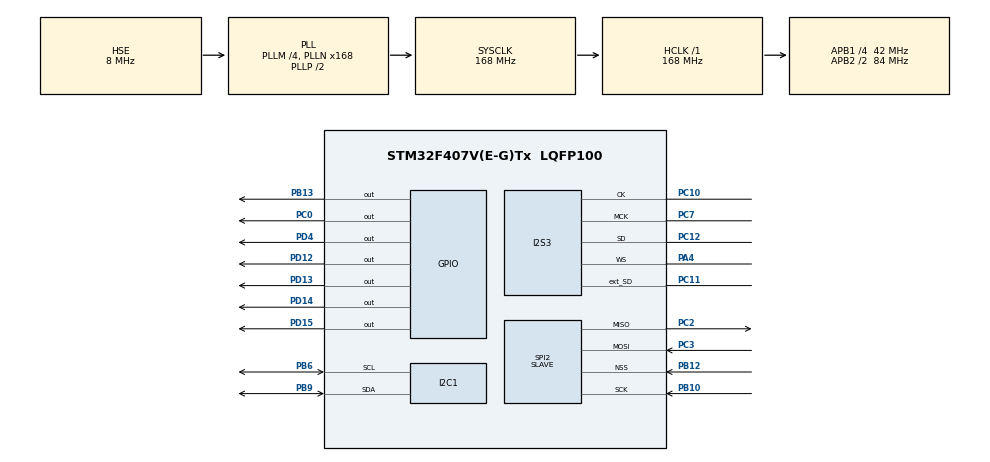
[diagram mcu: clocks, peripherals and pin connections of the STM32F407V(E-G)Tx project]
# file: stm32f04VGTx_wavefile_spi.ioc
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Dma.Request0=SPI3_TX
Dma.SPI3_TX.0.Direction=DMA_MEMORY_TO_PERIPH
Dma.SPI3_TX.0.FIFOMode=DMA_FIFOMODE_ENABLE
Dma.SPI3_TX.0.FIFOThreshold=DMA_FIFO_THRESHOLD_FULL
Dma.SPI3_TX.0.Instance=DMA1_Stream5
Dma.SPI3_TX.0.MemBurst=DMA_MBURST_INC8
Dma.SPI3_TX.0.MemDataAlignment=DMA_MDATAALIGN_BYTE
Dma.SPI3_TX.0.MemInc=DMA_MINC_ENABLE
Dma.SPI3_TX.0.Mode=DMA_NORMAL
Dma.SPI3_TX.0.PeriphBurst=DMA_PBURST_SINGLE
Dma.SPI3_TX.0.PeriphDataAlignment=DMA_PDATAALIGN_HALFWORD
Dma.SPI3_TX.0.PeriphInc=DMA_PINC_DISABLE
Dma.SPI3_TX.0.Priority=DMA_PRIORITY_LOW
FREERTOS.Tasks01=defaultTask,0,128,StartDefaultTask,Default,NULL
I2C1.OwnAddress=0x33
I2S3.AudioFreq=I2S_AUDIOFREQ_48K
I2S3.ErrorAudioFreq=-2.34 %
I2S3.FullDuplexMode=I2S_FULLDUPLEXMODE_ENABLE
I2S3.Instance=SPI$Index
I2S3.RealAudioFreq=46.875 KHz
I2S3.VirtualMode=I2S_MODE_MASTER
Mcu.Family=STM32F4
Mcu.Name=STM32F407V(E-G)Tx
Mcu.Package=LQFP100
NVIC.DMA1_Stream5_IRQn=true\:5\:0\:false\:false\:true\:true\:false\:true
NVIC.PriorityGroup=NVIC_PRIORITYGROUP_4
NVIC.SPI2_IRQn=true\:5\:0\:false\:false\:true\:true\:true\:true
NVIC.TIM6_DAC_IRQn=true\:0\:0\:false\:false\:true\:false\:false\:true
NVIC.TimeBase=TIM6_DAC_IRQn
NVIC.TimeBaseIP=TIM6
PA4.Mode=Full_Duplex_Master
PA4.Signal=I2S3_WS
PB10.Mode=Full_Duplex_Slave
PB10.Signal=SPI2_SCK
PB12.Mode=NSS_Signal_Hard_Input
PB12.Signal=SPI2_NSS
PB13.GPIO_Speed=GPIO_SPEED_FREQ_MEDIUM
PB13.Signal=GPIO_Output
PB6.Mode=I2C
PB6.Signal=I2C1_SCL
PB9.Mode=I2C
PB9.Signal=I2C1_SDA
PC0.Signal=GPIO_Output
PC10.Mode=Full_Duplex_Master
PC10.Signal=I2S3_CK
PC11.Mode=Full_Duplex_Master
PC11.Signal=I2S3_ext_SD
PC12.Mode=Full_Duplex_Master
PC12.Signal=I2S3_SD
PC2.Mode=Full_Duplex_Slave
PC2.Signal=SPI2_MISO
PC3.Mode=Full_Duplex_Slave
PC3.Signal=SPI2_MOSI
PC7.Mode=Master_Clock_Activated
PC7.Signal=I2S3_MCK
PD12.Signal=GPIO_Output
PD13.Signal=GPIO_Output
PD14.Signal=GPIO_Output
PD15.Signal=GPIO_Output
PD4.GPIO_PuPd=GPIO_PULLDOWN
PD4.GPIO_Speed=GPIO_SPEED_FREQ_MEDIUM
PD4.Signal=GPIO_Output
PH0-OSC_IN.Mode=HSE-External-Oscillator
PH0-OSC_IN.Signal=RCC_OSC_IN
PH1-OSC_OUT.Mode=HSE-External-Oscillator
PH1-OSC_OUT.Signal=RCC_OSC_OUT
ProjectManager.HeapSize=0x2000
ProjectManager.StackSize=0x4000
ProjectManager.TargetToolchain=TrueSTUDIO
RCC.48MHZClocksFreq_Value=48000000
RCC.AHBFreq_Value=168000000
RCC.APB1CLKDivider=RCC_HCLK_DIV4
RCC.APB1Freq_Value=42000000
RCC.APB1TimFreq_Value=84000000
RCC.APB2CLKDivider=RCC_HCLK_DIV2
RCC.APB2Freq_Value=84000000
RCC.APB2TimFreq_Value=168000000
RCC.CortexFreq_Value=168000000
RCC.HCLKFreq_Value=168000000
RCC.HSE_VALUE=8000000
RCC.HSI_VALUE=16000000
RCC.LSE_VALUE=32768
RCC.PLLM=4
RCC.PLLN=168
RCC.PLLQ=7
RCC.PLLSourceVirtual=RCC_PLLSOURCE_HSE
RCC.SYSCLKFreq_VALUE=168000000
RCC.SYSCLKSource=RCC_SYSCLKSOURCE_PLLCLK
RCC.VCOOutputFreq_Value=336000000
SPI2.Direction=SPI_DIRECTION_2LINES
SPI2.Mode=SPI_MODE_SLAVE
SPI2.VirtualNSS=VM_NSSHARD
SPI2.VirtualType=VM_SLAVE
VP_FREERTOS_VS_CMSIS_V1.Mode=CMSIS_V1
VP_SYS_VS_tim6.Mode=TIM6
board=STM32F407G-DISC1

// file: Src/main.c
/* USER CODE BEGIN Header */
/**
  ******************************************************************************
  * @file           : main.c
  * @brief          : Main program body
  ******************************************************************************
  * @attention
  *
  * <h2><center>&copy; Copyright (c) 2019 STMicroelectronics.
  * All rights reserved.</center></h2>
  *
  * This software component is licensed by ST under Ultimate Liberty license
  * SLA0044, the "License"; You may not use this file except in compliance with
  * the License. You may obtain a copy of the License at:
  *                             www.st.com/SLA0044
  *
  ******************************************************************************
  */
/* USER CODE END Header */

#include "main.h"
#include "cmsis_os.h"

/* USER CODE BEGIN Includes */
#include "audioplay.h"
#include "serial.h"
#include "string.h"
/* USER CODE END Includes */

/* USER CODE BEGIN PD */
extern AUDIO_StateMachine Audio;
extern uint8_t audio_data[];
uint32_t WaveDataLength = 0;
char str [100];
char *FileName = "audio.wav";
uint8_t info [44];
SemaphoreHandle_t semaVCPReady;
uint8_t spiRxBuf;

/* USER CODE END PD */

I2C_HandleTypeDef hi2c1;

I2S_HandleTypeDef hi2s3;
DMA_HandleTypeDef hdma_spi3_tx;

SPI_HandleTypeDef hspi2;

osThreadId defaultTaskHandle;

void SystemClock_Config(void);
static void MX_GPIO_Init(void);
static void MX_DMA_Init(void);
static void MX_I2C1_Init(void);
static void MX_I2S3_Init(void);
static void MX_SPI2_Init(void);
void StartDefaultTask(void const * argument);

/* USER CODE BEGIN 0 */
void HAL_I2S_TxCpltCallback (I2S_HandleTypeDef * hi2s3) {
  if (hi2s3-> Instance == I2S3) {
    /* Call the user function which will manage directly transfer complete */
    AudioPlay_TransferComplete_CallBack ();
  }
}

// ����������������

void HAL_I2S_TxHalfCpltCallback (I2S_HandleTypeDef * hi2s) {
  if (hi2s-> Instance == I2S3) {
    /* Manage the remaining file size and new address offset: This function should
       be coded by user (its prototype is already declared in stm32f4_discovery_audio.h) */
    AudioPlay_HalfTransfer_CallBack ();
  }
}

void CDC_ReceiveCallBack(uint8_t *buf, uint32_t len) {
	//vcp_store_data(buf, len);
}

void HeartBeatTask(void *arg) {
	//xSemaphoreTake(semaVCPReady, portMAX_DELAY);
	//xSemaphoreTake(semaVCPReady, portMAX_DELAY);
	while (true) {
		HAL_Delay(200);
		HAL_GPIO_TogglePin(GPIOD, GPIO_PIN_12);
	}
}

void HAL_SPI_RxCpltCallback(SPI_HandleTypeDef *hspi) {
	vcp_store_data(&spiRxBuf, 1);
	HAL_SPI_Receive_IT(&hspi2, &spiRxBuf, 1);
}

// ������������
/* USER CODE END 0 */

int main(void)
{

  /* MCU Configuration--------------------------------------------------------*/

  /* Reset of all peripherals, Initializes the Flash interface and the Systick. */
  HAL_Init();

  /* Configure the system clock */
  SystemClock_Config();

  /* Initialize all configured peripherals */
  MX_GPIO_Init();
  MX_DMA_Init();
  MX_I2C1_Init();
  MX_I2S3_Init();
  MX_SPI2_Init();

  /* USER CODE BEGIN RTOS_QUEUES */
  /* add queues, ... */
  semaVCPReady = xSemaphoreCreateBinary();
  /* USER CODE END RTOS_QUEUES */

  /* Create the thread(s) */
  /* definition and creation of defaultTask */
  osThreadDef(defaultTask, StartDefaultTask, osPriorityNormal, 0, 128);
  defaultTaskHandle = osThreadCreate(osThread(defaultTask), NULL);

  /* USER CODE BEGIN RTOS_THREADS */
  /* add threads, ... */
  xTaskCreate(HeartBeatTask, "heart beat", 128, 0, 2, 0);

  //HAL_Delay(2000);
  HAL_SPI_Receive_IT(&hspi2, &spiRxBuf, 1);
  HAL_GPIO_WritePin(GPIOB, GPIO_PIN_13, GPIO_PIN_RESET);
  //HAL_GPIO_WritePin(GPIOB, GPIO_PIN_13, GPIO_PIN_SET);
  /* USER CODE END RTOS_THREADS */

  /* Start scheduler */
  osKernelStart();

  /* We should never get here as control is now taken by the scheduler */

  /* Infinite loop */
  while (1)
  {

    /* USER CODE BEGIN 3 */
    //MenuProcess ();
  }
  /* USER CODE END 3 */
}

void SystemClock_Config(void)
{
  RCC_OscInitTypeDef RCC_OscInitStruct = {0};
  RCC_ClkInitTypeDef RCC_ClkInitStruct = {0};
  RCC_PeriphCLKInitTypeDef PeriphClkInitStruct = {0};

  /** Configure the main internal regulator output voltage
  */
  __HAL_RCC_PWR_CLK_ENABLE();
  __HAL_PWR_VOLTAGESCALING_CONFIG(PWR_REGULATOR_VOLTAGE_SCALE1);
  /** Initializes the CPU, AHB and APB busses clocks
  */
  RCC_OscInitStruct.OscillatorType = RCC_OSCILLATORTYPE_HSE;
  RCC_OscInitStruct.HSEState = RCC_HSE_ON;
  RCC_OscInitStruct.PLL.PLLState = RCC_PLL_ON;
  RCC_OscInitStruct.PLL.PLLSource = RCC_PLLSOURCE_HSE;
  RCC_OscInitStruct.PLL.PLLM = 4;
  RCC_OscInitStruct.PLL.PLLN = 168;
  RCC_OscInitStruct.PLL.PLLP = RCC_PLLP_DIV2;
  RCC_OscInitStruct.PLL.PLLQ = 7;
  if (HAL_RCC_OscConfig(&RCC_OscInitStruct) != HAL_OK)
  {
    Error_Handler();
  }
  /** Initializes the CPU, AHB and APB busses clocks
  */
  RCC_ClkInitStruct.ClockType = RCC_CLOCKTYPE_HCLK|RCC_CLOCKTYPE_SYSCLK
                              |RCC_CLOCKTYPE_PCLK1|RCC_CLOCKTYPE_PCLK2;
  RCC_ClkInitStruct.SYSCLKSource = RCC_SYSCLKSOURCE_PLLCLK;
  RCC_ClkInitStruct.AHBCLKDivider = RCC_SYSCLK_DIV1;
  RCC_ClkInitStruct.APB1CLKDivider = RCC_HCLK_DIV4;
  RCC_ClkInitStruct.APB2CLKDivider = RCC_HCLK_DIV2;

  if (HAL_RCC_ClockConfig(&RCC_ClkInitStruct, FLASH_LATENCY_5) != HAL_OK)
  {
    Error_Handler();
  }
  PeriphClkInitStruct.PeriphClockSelection = RCC_PERIPHCLK_I2S;
  PeriphClkInitStruct.PLLI2S.PLLI2SN = 192;
  PeriphClkInitStruct.PLLI2S.PLLI2SR = 2;
  if (HAL_RCCEx_PeriphCLKConfig(&PeriphClkInitStruct) != HAL_OK)
  {
    Error_Handler();
  }
}

static void MX_I2C1_Init(void)
{

  hi2c1.Instance = I2C1;
  hi2c1.Init.ClockSpeed = 100000;
  hi2c1.Init.DutyCycle = I2C_DUTYCYCLE_2;
  hi2c1.Init.OwnAddress1 = 102;
  hi2c1.Init.AddressingMode = I2C_ADDRESSINGMODE_7BIT;
  hi2c1.Init.DualAddressMode = I2C_DUALADDRESS_DISABLE;
  hi2c1.Init.OwnAddress2 = 0;
  hi2c1.Init.GeneralCallMode = I2C_GENERALCALL_DISABLE;
  hi2c1.Init.NoStretchMode = I2C_NOSTRETCH_DISABLE;
  if (HAL_I2C_Init(&hi2c1) != HAL_OK)
  {
    Error_Handler();
  }

}

static void MX_I2S3_Init(void)
{

  hi2s3.Instance = SPI3;
  hi2s3.Init.Mode = I2S_MODE_MASTER_TX;
  hi2s3.Init.Standard = I2S_STANDARD_PHILIPS;
  hi2s3.Init.DataFormat = I2S_DATAFORMAT_16B;
  hi2s3.Init.MCLKOutput = I2S_MCLKOUTPUT_ENABLE;
  hi2s3.Init.AudioFreq = I2S_AUDIOFREQ_48K;
  hi2s3.Init.CPOL = I2S_CPOL_LOW;
  hi2s3.Init.ClockSource = I2S_CLOCK_PLL;
  hi2s3.Init.FullDuplexMode = I2S_FULLDUPLEXMODE_ENABLE;
  if (HAL_I2S_Init(&hi2s3) != HAL_OK)
  {
    Error_Handler();
  }

}

static void MX_SPI2_Init(void)
{

  /* SPI2 parameter configuration*/
  hspi2.Instance = SPI2;
  hspi2.Init.Mode = SPI_MODE_SLAVE;
  hspi2.Init.Direction = SPI_DIRECTION_2LINES;
  hspi2.Init.DataSize = SPI_DATASIZE_8BIT;
  hspi2.Init.CLKPolarity = SPI_POLARITY_LOW;
  hspi2.Init.CLKPhase = SPI_PHASE_1EDGE;
  hspi2.Init.NSS = SPI_NSS_HARD_INPUT;
  hspi2.Init.FirstBit = SPI_FIRSTBIT_MSB;
  hspi2.Init.TIMode = SPI_TIMODE_DISABLE;
  hspi2.Init.CRCCalculation = SPI_CRCCALCULATION_DISABLE;
  hspi2.Init.CRCPolynomial = 10;
  if (HAL_SPI_Init(&hspi2) != HAL_OK)
  {
    Error_Handler();
  }

}

static void MX_DMA_Init(void)
{

  /* DMA controller clock enable */
  __HAL_RCC_DMA1_CLK_ENABLE();

  /* DMA interrupt init */
  /* DMA1_Stream5_IRQn interrupt configuration */
  HAL_NVIC_SetPriority(DMA1_Stream5_IRQn, 5, 0);
  HAL_NVIC_EnableIRQ(DMA1_Stream5_IRQn);

}

static void MX_GPIO_Init(void)
{
  GPIO_InitTypeDef GPIO_InitStruct = {0};

  /* GPIO Ports Clock Enable */
  __HAL_RCC_GPIOH_CLK_ENABLE();
  __HAL_RCC_GPIOC_CLK_ENABLE();
  __HAL_RCC_GPIOA_CLK_ENABLE();
  __HAL_RCC_GPIOB_CLK_ENABLE();
  __HAL_RCC_GPIOD_CLK_ENABLE();

  /*Configure GPIO pin Output Level */
  HAL_GPIO_WritePin(GPIOC, GPIO_PIN_0, GPIO_PIN_RESET);

  /*Configure GPIO pin Output Level */
  HAL_GPIO_WritePin(GPIOB, GPIO_PIN_13, GPIO_PIN_RESET);

  /*Configure GPIO pin Output Level */
  HAL_GPIO_WritePin(GPIOD, GPIO_PIN_12|GPIO_PIN_13|GPIO_PIN_14|GPIO_PIN_15
                          |GPIO_PIN_4, GPIO_PIN_RESET);

  /*Configure GPIO pin : PC0 */
  GPIO_InitStruct.Pin = GPIO_PIN_0;
  GPIO_InitStruct.Mode = GPIO_MODE_OUTPUT_PP;
  GPIO_InitStruct.Pull = GPIO_NOPULL;
  GPIO_InitStruct.Speed = GPIO_SPEED_FREQ_LOW;
  HAL_GPIO_Init(GPIOC, &GPIO_InitStruct);

  /*Configure GPIO pin : PB13 */
  GPIO_InitStruct.Pin = GPIO_PIN_13;
  GPIO_InitStruct.Mode = GPIO_MODE_OUTPUT_PP;
  GPIO_InitStruct.Pull = GPIO_NOPULL;
  GPIO_InitStruct.Speed = GPIO_SPEED_FREQ_MEDIUM;
  HAL_GPIO_Init(GPIOB, &GPIO_InitStruct);

  /*Configure GPIO pins : PD12 PD13 PD14 PD15 */
  GPIO_InitStruct.Pin = GPIO_PIN_12|GPIO_PIN_13|GPIO_PIN_14|GPIO_PIN_15;
  GPIO_InitStruct.Mode = GPIO_MODE_OUTPUT_PP;
  GPIO_InitStruct.Pull = GPIO_NOPULL;
  GPIO_InitStruct.Speed = GPIO_SPEED_FREQ_LOW;
  HAL_GPIO_Init(GPIOD, &GPIO_InitStruct);

  /*Configure GPIO pin : PD4 */
  GPIO_InitStruct.Pin = GPIO_PIN_4;
  GPIO_InitStruct.Mode = GPIO_MODE_OUTPUT_PP;
  GPIO_InitStruct.Pull = GPIO_PULLDOWN;
  GPIO_InitStruct.Speed = GPIO_SPEED_FREQ_MEDIUM;
  HAL_GPIO_Init(GPIOD, &GPIO_InitStruct);

}

void StartDefaultTask(void const * argument)
{
  for(;;)
  {
    osDelay(1);
  }
}

void HAL_TIM_PeriodElapsedCallback(TIM_HandleTypeDef *htim)
{
  if (htim->Instance == TIM6) {
    HAL_IncTick();
  }
}

void Error_Handler(void)
{
}

/************************ (C) COPYRIGHT STMicroelectronics *****END OF FILE****/
